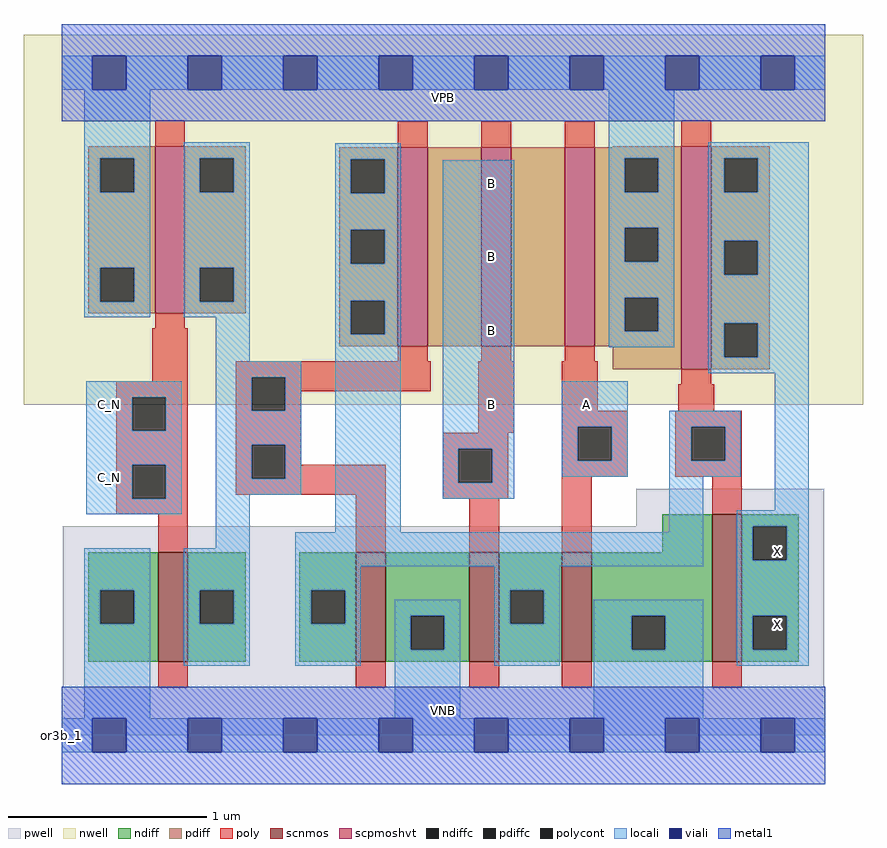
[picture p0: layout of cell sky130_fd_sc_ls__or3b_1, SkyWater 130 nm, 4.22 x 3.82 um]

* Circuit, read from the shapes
.subckt sky130_fd_sc_ls__or3b_1 A B C_N VGND VNB VPB VPWR X
XM1 n1 C_N VGND VNB sky130_fd_pr__nfet_01v8 w=0.55 l=0.15
XM2 VGND n1 n2 VNB sky130_fd_pr__nfet_01v8 w=0.55 l=0.15
XM3 n2 B VGND VNB sky130_fd_pr__nfet_01v8 w=0.55 l=0.15
XM4 VGND A n2 VNB sky130_fd_pr__nfet_01v8 w=0.55 l=0.15
XM5 X n2 VGND VNB sky130_fd_pr__nfet_01v8 w=0.74 l=0.15
XM6 n1 C_N VPWR VPB sky130_fd_pr__pfet_01v8_hvt w=0.84 l=0.15
XM7 n3 n1 n2 VPB sky130_fd_pr__pfet_01v8_hvt w=1 l=0.15
XM8 n4 B n3 VPB sky130_fd_pr__pfet_01v8_hvt w=1 l=0.15
XM9 VPWR A n4 VPB sky130_fd_pr__pfet_01v8_hvt w=1 l=0.15
XM10 X n2 VPWR VPB sky130_fd_pr__pfet_01v8_hvt w=1.12 l=0.15
.ends

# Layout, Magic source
magic
tech sky130A
magscale 1 2
<< nwell >>
rect -38 332 806 704
<< pwell >>
rect 578 210 767 248
rect 1 49 767 210
rect 0 0 768 49
<< scnmos >>
rect 97 74 127 184
rect 296 74 326 184
rect 410 74 440 184
rect 503 74 533 184
rect 654 74 684 222
<< scpmoshvt >>
rect 94 424 124 592
rect 338 391 368 591
rect 422 391 452 591
rect 506 391 536 591
rect 623 368 653 592
<< ndiff >>
rect 604 184 654 222
rect 27 146 97 184
rect 27 112 39 146
rect 73 112 97 146
rect 27 74 97 112
rect 127 146 185 184
rect 127 112 139 146
rect 173 112 185 146
rect 127 74 185 112
rect 239 146 296 184
rect 239 112 251 146
rect 285 112 296 146
rect 239 74 296 112
rect 326 120 410 184
rect 326 86 351 120
rect 385 86 410 120
rect 326 74 410 86
rect 440 146 503 184
rect 440 112 451 146
rect 485 112 503 146
rect 440 74 503 112
rect 533 120 654 184
rect 533 86 573 120
rect 607 86 654 120
rect 533 74 654 86
rect 684 210 741 222
rect 684 176 695 210
rect 729 176 741 210
rect 684 120 741 176
rect 684 86 695 120
rect 729 86 741 120
rect 684 74 741 86
<< pdiff >>
rect 27 580 94 592
rect 27 546 39 580
rect 73 546 94 580
rect 27 470 94 546
rect 27 436 39 470
rect 73 436 94 470
rect 27 424 94 436
rect 124 580 185 592
rect 554 591 623 592
rect 124 546 139 580
rect 173 546 185 580
rect 124 470 185 546
rect 124 436 139 470
rect 173 436 185 470
rect 124 424 185 436
rect 279 579 338 591
rect 279 545 291 579
rect 325 545 338 579
rect 279 508 338 545
rect 279 474 291 508
rect 325 474 338 508
rect 279 437 338 474
rect 279 403 291 437
rect 325 403 338 437
rect 279 391 338 403
rect 368 391 422 591
rect 452 391 506 591
rect 536 580 623 591
rect 536 546 566 580
rect 600 546 623 580
rect 536 510 623 546
rect 536 476 566 510
rect 600 476 623 510
rect 536 440 623 476
rect 536 406 566 440
rect 600 406 623 440
rect 536 391 623 406
rect 554 368 623 391
rect 653 580 712 592
rect 653 546 666 580
rect 700 546 712 580
rect 653 497 712 546
rect 653 463 666 497
rect 700 463 712 497
rect 653 414 712 463
rect 653 380 666 414
rect 700 380 712 414
rect 653 368 712 380
<< ndiffc >>
rect 39 112 73 146
rect 139 112 173 146
rect 251 112 285 146
rect 351 86 385 120
rect 451 112 485 146
rect 573 86 607 120
rect 695 176 729 210
rect 695 86 729 120
<< pdiffc >>
rect 39 546 73 580
rect 39 436 73 470
rect 139 546 173 580
rect 139 436 173 470
rect 291 545 325 579
rect 291 474 325 508
rect 291 403 325 437
rect 566 546 600 580
rect 566 476 600 510
rect 566 406 600 440
rect 666 546 700 580
rect 666 463 700 497
rect 666 380 700 414
<< poly >>
rect 94 592 124 618
rect 338 591 368 617
rect 422 591 452 617
rect 506 591 536 617
rect 623 592 653 618
rect 94 409 124 424
rect 91 356 127 409
rect 338 376 368 391
rect 422 376 452 391
rect 506 376 536 391
rect 55 340 127 356
rect 55 306 71 340
rect 105 306 127 340
rect 55 272 127 306
rect 55 238 71 272
rect 105 238 127 272
rect 175 360 371 376
rect 175 326 191 360
rect 225 346 371 360
rect 225 326 241 346
rect 175 292 241 326
rect 419 304 455 376
rect 503 326 539 376
rect 623 353 653 368
rect 620 326 656 353
rect 503 310 569 326
rect 175 258 191 292
rect 225 272 241 292
rect 383 288 449 304
rect 225 258 326 272
rect 175 242 326 258
rect 55 222 127 238
rect 97 184 127 222
rect 296 184 326 242
rect 383 254 399 288
rect 433 254 449 288
rect 383 238 449 254
rect 503 276 519 310
rect 553 276 569 310
rect 503 260 569 276
rect 617 310 684 326
rect 617 276 633 310
rect 667 276 684 310
rect 617 260 684 276
rect 410 184 440 238
rect 503 184 533 260
rect 654 222 684 260
rect 97 48 127 74
rect 296 48 326 74
rect 410 48 440 74
rect 503 48 533 74
rect 654 48 684 74
<< polycont >>
rect 71 306 105 340
rect 71 238 105 272
rect 191 326 225 360
rect 191 258 225 292
rect 399 254 433 288
rect 519 276 553 310
rect 633 276 667 310
<< locali >>
rect 0 649 31 683
rect 65 649 127 683
rect 161 649 223 683
rect 257 649 319 683
rect 353 649 415 683
rect 449 649 511 683
rect 545 649 607 683
rect 641 649 703 683
rect 737 649 768 683
rect 23 580 89 649
rect 23 546 39 580
rect 73 546 89 580
rect 23 470 89 546
rect 23 436 39 470
rect 73 436 89 470
rect 23 420 89 436
rect 123 580 189 596
rect 123 546 139 580
rect 173 546 189 580
rect 123 470 189 546
rect 123 436 139 470
rect 173 436 189 470
rect 123 420 189 436
rect 155 376 189 420
rect 275 579 341 595
rect 275 545 291 579
rect 325 545 341 579
rect 550 580 616 649
rect 275 508 341 545
rect 275 474 291 508
rect 325 474 341 508
rect 275 437 341 474
rect 275 403 291 437
rect 325 403 341 437
rect 155 360 241 376
rect 25 340 121 356
rect 25 306 71 340
rect 105 306 121 340
rect 25 272 121 306
rect 25 238 71 272
rect 105 238 121 272
rect 25 222 121 238
rect 155 326 191 360
rect 225 326 241 360
rect 155 292 241 326
rect 155 258 191 292
rect 225 258 241 292
rect 155 242 241 258
rect 155 188 189 242
rect 275 204 341 403
rect 383 288 455 578
rect 550 546 566 580
rect 600 546 616 580
rect 550 510 616 546
rect 550 476 566 510
rect 600 476 616 510
rect 550 440 616 476
rect 550 406 566 440
rect 600 406 616 440
rect 550 390 616 406
rect 650 580 751 596
rect 650 546 666 580
rect 700 546 751 580
rect 650 497 751 546
rect 650 463 666 497
rect 700 463 751 497
rect 650 414 751 463
rect 650 380 666 414
rect 700 380 751 414
rect 650 364 751 380
rect 383 254 399 288
rect 433 254 455 288
rect 503 310 569 356
rect 503 276 519 310
rect 553 276 569 310
rect 503 260 569 276
rect 611 310 683 326
rect 611 276 633 310
rect 667 276 683 310
rect 611 260 683 276
rect 383 238 455 254
rect 611 204 645 260
rect 717 226 751 364
rect 23 146 89 188
rect 23 112 39 146
rect 73 112 89 146
rect 23 17 89 112
rect 123 146 189 188
rect 123 112 139 146
rect 173 112 189 146
rect 123 70 189 112
rect 235 170 645 204
rect 679 210 751 226
rect 679 176 695 210
rect 729 176 751 210
rect 235 146 301 170
rect 235 112 251 146
rect 285 112 301 146
rect 435 146 501 170
rect 235 70 301 112
rect 335 120 401 136
rect 335 86 351 120
rect 385 86 401 120
rect 335 17 401 86
rect 435 112 451 146
rect 485 112 501 146
rect 435 70 501 112
rect 535 120 645 136
rect 535 86 573 120
rect 607 86 645 120
rect 535 17 645 86
rect 679 120 751 176
rect 679 86 695 120
rect 729 86 751 120
rect 679 70 751 86
rect 0 -17 31 17
rect 65 -17 127 17
rect 161 -17 223 17
rect 257 -17 319 17
rect 353 -17 415 17
rect 449 -17 511 17
rect 545 -17 607 17
rect 641 -17 703 17
rect 737 -17 768 17
<< viali >>
rect 31 649 65 683
rect 127 649 161 683
rect 223 649 257 683
rect 319 649 353 683
rect 415 649 449 683
rect 511 649 545 683
rect 607 649 641 683
rect 703 649 737 683
rect 31 -17 65 17
rect 127 -17 161 17
rect 223 -17 257 17
rect 319 -17 353 17
rect 415 -17 449 17
rect 511 -17 545 17
rect 607 -17 641 17
rect 703 -17 737 17
<< metal1 >>
rect 0 683 768 715
rect 0 649 31 683
rect 65 649 127 683
rect 161 649 223 683
rect 257 649 319 683
rect 353 649 415 683
rect 449 649 511 683
rect 545 649 607 683
rect 641 649 703 683
rect 737 649 768 683
rect 0 617 768 649
rect 0 17 768 49
rect 0 -17 31 17
rect 65 -17 127 17
rect 161 -17 223 17
rect 257 -17 319 17
rect 353 -17 415 17
rect 449 -17 511 17
rect 545 -17 607 17
rect 641 -17 703 17
rect 737 -17 768 17
rect 0 -49 768 -17
<< labels >>
rlabel comment s 0 0 0 0 4 or3b_1
flabel pwell s 0 0 768 49 0 FreeSans 200 0 0 0 VNB
port 5 nsew ground bidirectional
flabel nwell s 0 617 768 666 0 FreeSans 200 0 0 0 VPB
port 6 nsew power bidirectional
flabel metal1 s 0 617 768 666 0 FreeSans 340 0 0 0 VPWR
port 7 nsew power bidirectional abutment
flabel metal1 s 0 0 768 49 0 FreeSans 340 0 0 0 VGND
port 4 nsew ground bidirectional abutment
flabel locali s 511 316 545 350 0 FreeSans 340 0 0 0 A
port 1 nsew signal input
flabel locali s 415 316 449 350 0 FreeSans 340 0 0 0 B
port 2 nsew signal input
flabel locali s 415 390 449 424 0 FreeSans 340 0 0 0 B
port 2 nsew signal input
flabel locali s 415 464 449 498 0 FreeSans 340 0 0 0 B
port 2 nsew signal input
flabel locali s 415 538 449 572 0 FreeSans 340 0 0 0 B
port 2 nsew signal input
flabel locali s 31 242 65 276 0 FreeSans 340 0 0 0 C_N
port 3 nsew signal input
flabel locali s 31 316 65 350 0 FreeSans 340 0 0 0 C_N
port 3 nsew signal input
flabel locali s 703 94 737 128 0 FreeSans 340 0 0 0 X
port 8 nsew signal output
flabel locali s 703 168 737 202 0 FreeSans 340 0 0 0 X
port 8 nsew signal output
<< properties >>
string LEFsite unit
string LEFclass CORE
string FIXED_BBOX 0 0 768 666
string GDS_FILE $PDKPATH/libs.ref/sky130_fd_sc_ls/gds/sky130_fd_sc_ls.gds
string LEFsymmetry X Y
string GDS_END 821096
string GDS_START 813882
<< end >>
